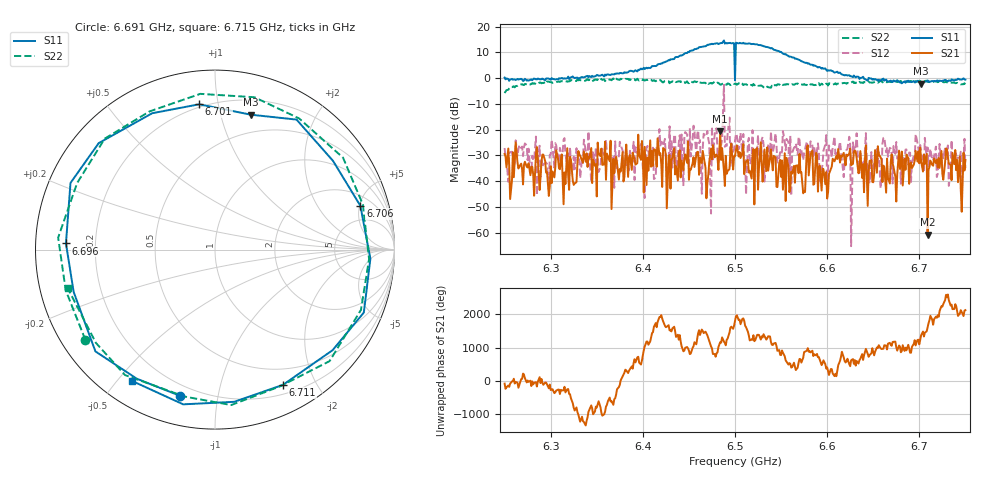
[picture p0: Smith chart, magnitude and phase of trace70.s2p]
# Hz S RI R 50
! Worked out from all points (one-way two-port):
!   401 points, 6.25 GHz to 6.75 GHz, reference 50 ohm
!   highest |S21| = -20.63 dB at 6.484 GHz (marker M1); lowest = -60.8 dB at 6.709 GHz (marker M2)
!   lowest |S11| = -2.2 dB at 6.702 GHz (marker M3), VSWR 7.99, Z = 16.4 + j62.3 ohm
!   |S11| at or under -10 dB: nowhere
!   |S22| runs from -5.8 to -0.1 dB; largest |S21 - S12| = 0.73
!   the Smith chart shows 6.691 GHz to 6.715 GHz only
!   S11 on the Smith chart (normalised r, x): 6.691 GHz: 0.14, -0.78; 6.696 GHz: 0.09, +0.02; 6.701 GHz: 0.18, +0.88; 6.706 GHz: 2.97, +5.10; 6.711 GHz: 0.30, -1.58; 6.715 GHz: 0.09, -0.55
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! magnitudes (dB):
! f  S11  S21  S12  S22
! 6.25 GHz  0.2  -29.5  -27.2  -5.8
! 6.299 GHz  -0.5  -42.2  -29.8  -1.5
! 6.334 GHz  0.4  -31.9  -31.2  -0.8
! 6.401 GHz  4.0  -44.4  -37.8  -0.7
! 6.418 GHz  5.5  -29.9  -19.8  -0.9
! 6.47 GHz  12.9  -41.0  -20.5  -1.9
! 6.484 GHz  13.6  -20.6  -25.6  -2.5
! 6.5 GHz  -0.9  -30.4  -24.7  -2.3
! 6.584 GHz  5.2  -28.1  -26.2  -2.4
! 6.629 GHz  1.0  -28.6  -29.0  -1.9
! 6.63 GHz  0.6  -28.1  -26.1  -1.7
! 6.646 GHz  -0.1  -32.2  -40.5  -1.7
! 6.668 GHz  -1.1  -41.0  -27.1  -1.4
! 6.691 GHz  -1.5  -32.8  -40.4  -1.1
! 6.696 GHz  -1.6  -28.2  -21.8  -1.2
! 6.701 GHz  -1.8  -27.0  -26.0  -1.2
! 6.702 GHz  -2.2  -32.4  -29.8  -1.1
! 6.706 GHz  -1.5  -33.4  -23.2  -1.1
! 6.709 GHz  -0.9  -60.8  -27.0  -1.5
! 6.711 GHz  -1.5  -34.5  -30.4  -1.6
! 6.715 GHz  -1.3  -34.0  -31.7  -1.4
! 6.75 GHz  -0.6  -31.8  -35.0  -2.4
